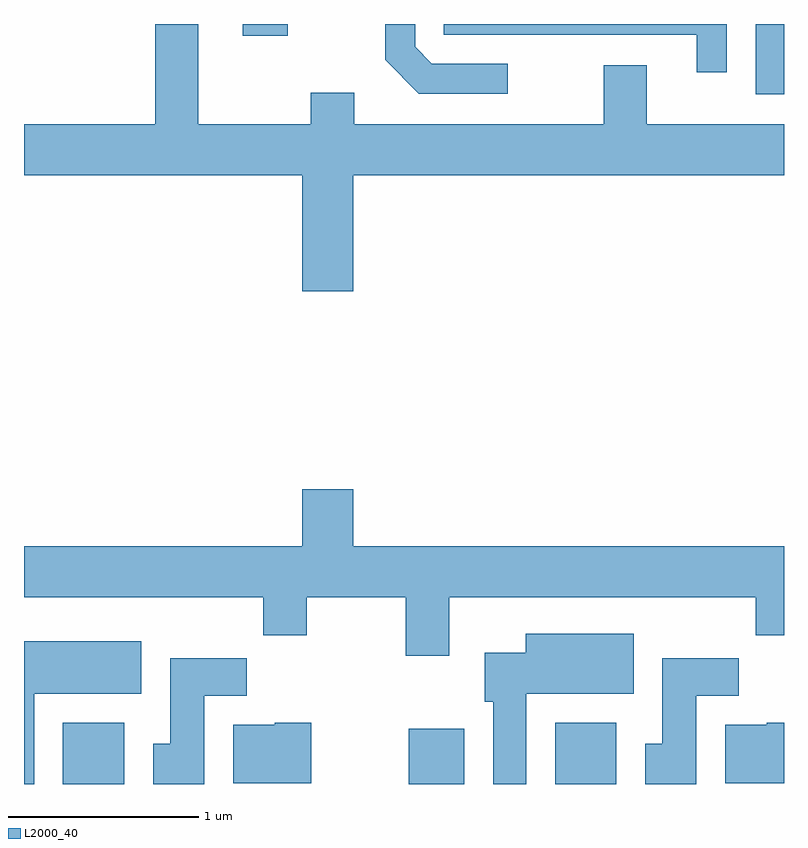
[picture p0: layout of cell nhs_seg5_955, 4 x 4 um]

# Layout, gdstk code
import gdstk
lib = gdstk.Library(unit=1e-6, precision=1e-09)
def R(c, l, rs):  # rectangles x0, y0, x1, y1
    for r in rs: c.add(gdstk.rectangle(r[:2], r[2:], *l))
def P(c, l, *ps):  # polygons
    for p in ps: c.add(gdstk.Polygon(p, *l))
L2000_40 = (2000, 40)

nhs_seg5_955 = lib.new_cell('nhs_seg5_955')
R(nhs_seg5_955, L2000_40, [(213.816,1418.072,214.139,1418.394), (215.636,1418.072,215.929,1418.364), (216.406,1418.072,216.729,1418.394), (217.461,1421.701,217.611,1422.072), (214.761,1422.011,214.998,1422.072)])
P(nhs_seg5_955, L2000_40, [(215.344,1421.276),(217.611,1421.276),(217.611,1421.544),(216.889,1421.544),(216.889,1421.854),(216.661,1421.854),(216.661,1421.544),(215.349,1421.544),(215.349,1421.709),(215.121,1421.709),(215.121,1421.544),(214.529,1421.544),(214.529,1422.072),(214.301,1422.072),(214.301,1421.544),(213.611,1421.544),(213.611,1421.276),(215.076,1421.276),(215.076,1420.666),(215.344,1420.666)],
  [(216.158,1421.864),(215.757,1421.864),(215.669,1421.952),(215.669,1422.072),(215.511,1422.072),(215.511,1421.884),(215.689,1421.706),(216.158,1421.706)],
  [(217.309,1422.072),(215.821,1422.072),(215.821,1422.016),(217.151,1422.016),(217.151,1421.818),(217.309,1421.818)],
  [(215.849,1419.056),(217.461,1419.056),(217.461,1418.856),(217.611,1418.856),(217.611,1419.324),(215.344,1419.324),(215.344,1419.624),(215.076,1419.624),(215.076,1419.324),(213.611,1419.324),(213.611,1419.056),(214.871,1419.056),(214.871,1418.856),(215.099,1418.856),(215.099,1419.056),(215.621,1419.056),(215.621,1418.746),(215.849,1418.746)],
  [(216.254,1418.546),(216.819,1418.546),(216.819,1418.864),(216.251,1418.864),(216.251,1418.764),(216.036,1418.764),(216.036,1418.506),(216.081,1418.506),(216.081,1418.072),(216.254,1418.072)],
  [(213.664,1418.546),(214.229,1418.546),(214.229,1418.824),(213.611,1418.824),(213.611,1418.072),(213.664,1418.072)],
  [(214.559,1418.536),(214.784,1418.536),(214.784,1418.734),(214.381,1418.734),(214.381,1418.284),(214.291,1418.284),(214.291,1418.072),(214.559,1418.072)],
  [(217.149,1418.536),(217.374,1418.536),(217.374,1418.734),(216.971,1418.734),(216.971,1418.284),(216.881,1418.284),(216.881,1418.072),(217.149,1418.072)],
  [(215.124,1418.394),(214.93,1418.394),(214.93,1418.384),(214.711,1418.384),(214.711,1418.076),(215.124,1418.076)],
  [(217.611,1418.394),(217.52,1418.394),(217.52,1418.384),(217.301,1418.384),(217.301,1418.076),(217.611,1418.076)])

lib.write_gds('nhs_seg5_955.gds')
